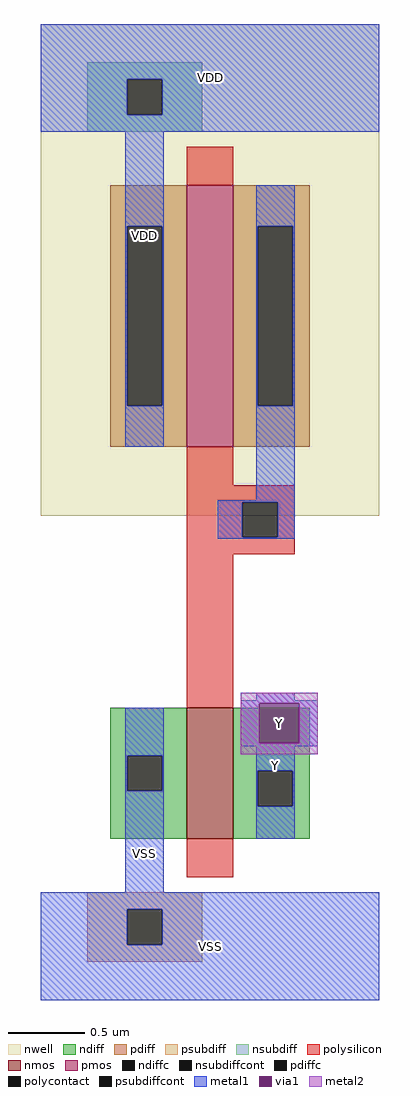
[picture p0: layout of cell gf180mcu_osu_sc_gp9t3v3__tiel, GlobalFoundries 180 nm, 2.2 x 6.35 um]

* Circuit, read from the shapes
.subckt gf180mcu_osu_sc_gp9t3v3__tiel Y VDD VSS
XM1 Y n1 VSS VSS nfet_03v3 w=0.85u l=0.3u
XM2 n1 n1 VDD VDD pfet_03v3 w=1.7u l=0.3u
.ends

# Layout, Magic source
magic
tech gf180mcuA
magscale 1 10
<< nwell >>
rect 0 630 440 1270
<< nmos >>
rect 190 210 250 380
<< pmos >>
rect 190 720 250 1060
<< ndiff >>
rect 90 318 190 380
rect 90 272 112 318
rect 158 272 190 318
rect 90 210 190 272
rect 250 298 350 380
rect 250 252 282 298
rect 328 252 350 298
rect 250 210 350 252
<< pdiff >>
rect 90 1007 190 1060
rect 90 773 112 1007
rect 158 773 190 1007
rect 90 720 190 773
rect 250 1007 350 1060
rect 250 773 282 1007
rect 328 773 350 1007
rect 250 720 350 773
<< ndiffc >>
rect 112 272 158 318
rect 282 252 328 298
<< pdiffc >>
rect 112 773 158 1007
rect 282 773 328 1007
<< psubdiff >>
rect 60 118 210 140
rect 60 72 112 118
rect 158 72 210 118
rect 60 50 210 72
<< nsubdiff >>
rect 60 1198 210 1220
rect 60 1152 112 1198
rect 158 1152 210 1198
rect 60 1130 210 1152
<< psubdiffcont >>
rect 112 72 158 118
<< nsubdiffcont >>
rect 112 1152 158 1198
<< polysilicon >>
rect 190 1060 250 1110
rect 190 670 250 720
rect 190 648 330 670
rect 190 602 262 648
rect 308 602 330 648
rect 190 580 330 602
rect 190 380 250 580
rect 190 160 250 210
<< polycontact >>
rect 262 602 308 648
<< metal1 >>
rect 0 1198 440 1270
rect 0 1152 112 1198
rect 158 1152 440 1198
rect 0 1130 440 1152
rect 110 1007 160 1130
rect 110 773 112 1007
rect 158 773 160 1007
rect 110 720 160 773
rect 280 1007 330 1060
rect 280 773 282 1007
rect 328 773 330 1007
rect 280 650 330 773
rect 230 648 330 650
rect 230 602 262 648
rect 308 602 330 648
rect 230 600 330 602
rect 280 390 330 400
rect 260 386 360 390
rect 110 318 160 380
rect 260 334 284 386
rect 336 334 360 386
rect 260 330 360 334
rect 110 272 112 318
rect 158 272 160 318
rect 110 140 160 272
rect 280 298 330 330
rect 280 252 282 298
rect 328 252 330 298
rect 280 210 330 252
rect 0 118 440 140
rect 0 72 112 118
rect 158 72 440 118
rect 0 0 440 72
<< via1 >>
rect 284 334 336 386
<< metal2 >>
rect 260 386 360 400
rect 260 334 284 386
rect 336 334 360 386
rect 260 320 360 334
<< labels >>
rlabel via1 s 284 334 336 386 4 Y
port 1 nsew signal output
rlabel metal1 s 110 720 160 1270 4 VDD
port 2 nsew power bidirectional abutment
rlabel metal1 s 110 0 160 380 4 VSS
port 3 nsew ground bidirectional abutment
rlabel metal1 s 0 1130 440 1270 1 VDD
port 2 nsew power bidirectional abutment
rlabel metal1 s 0 0 440 140 1 VSS
port 3 nsew ground bidirectional abutment
rlabel metal2 s 260 320 360 400 1 Y
port 1 nsew signal output
rlabel metal1 s 280 210 330 400 1 Y
port 1 nsew signal output
rlabel metal1 s 260 330 360 390 1 Y
port 1 nsew signal output
<< properties >>
string FIXED_BBOX 0 0 440 1270
string GDS_END 372648
string GDS_FILE $PDKPATH/libs.ref/gf180mcu_osu_sc_gp9t3v3/gds/gf180mcu_osu_sc_gp9t3v3.gds
string GDS_START 370094
string LEFclass CORE
string LEFsite gf180mcu_osu_sc_gp9t3v3
string LEFsymmetry X Y
<< end >>
